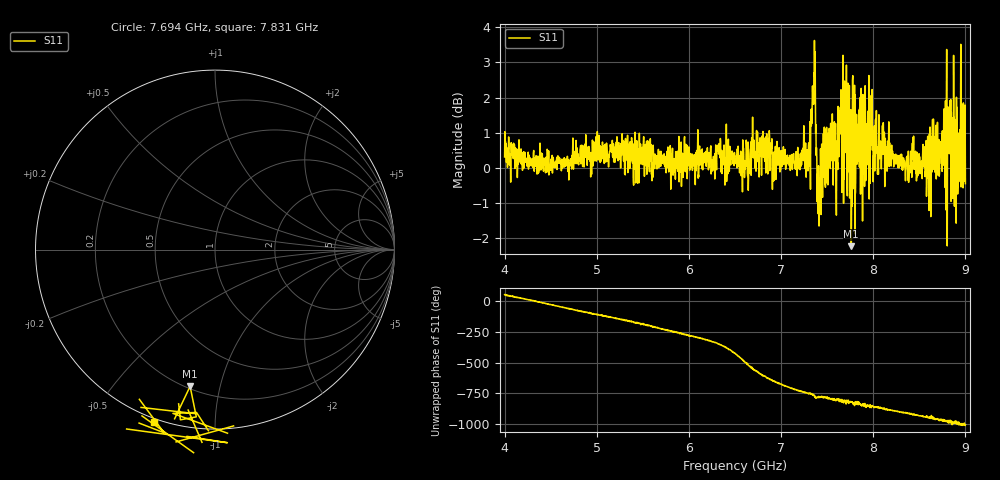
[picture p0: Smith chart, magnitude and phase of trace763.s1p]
! Created with skrf 1.8.0 (http://scikit-rf.org).
# Hz S RI R 50.0
!freq ReS11 ImS11
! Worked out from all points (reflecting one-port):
!   1601 points, 4 GHz to 9 GHz, reference 50 ohm
!   lowest |S11| = -2.2 dB at 7.762 GHz (marker M1), VSWR 7.87, Z = 10.7 - j40.6 ohm
!   phase of S11 starts at 50 deg and turns -1053 deg over the sweep
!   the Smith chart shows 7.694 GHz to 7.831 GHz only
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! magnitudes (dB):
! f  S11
! 4 GHz  0.3
! 4.625 GHz  0.0
! 5.25 GHz  0.4
! 5.875 GHz  0.3
! 6.5 GHz  0.2
! 6.819 GHz  0.4
! 6.928 GHz  0.1
! 7.125 GHz  0.3
! 7.294 GHz  0.0
! 7.347 GHz  2.0
! 7.366 GHz  2.5
! 7.409 GHz  -0.6
! 7.481 GHz  -0.5
! 7.591 GHz  1.3
! 7.65 GHz  2.2
! 7.75 GHz  1.2
! 7.762 GHz  -2.2
! 7.784 GHz  0.5
! 7.844 GHz  1.6
! 7.966 GHz  -0.4
! 8.375 GHz  -0.1
! 8.603 GHz  -0.2
! 8.656 GHz  1.1
! 8.766 GHz  1.7
! 8.816 GHz  0.4
! 8.906 GHz  0.0
! 8.972 GHz  0.5
! 9 GHz  -0.4
